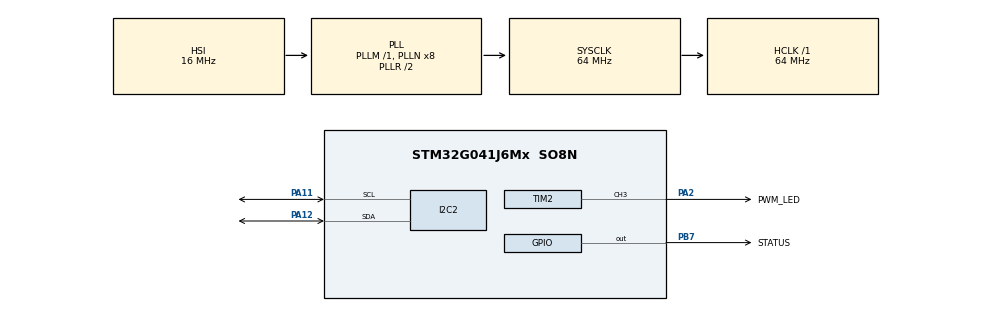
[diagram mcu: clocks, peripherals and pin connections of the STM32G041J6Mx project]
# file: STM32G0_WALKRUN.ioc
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I2C2.Timing=0x10707DBC
Mcu.Family=STM32G0
Mcu.Name=STM32G041J6Mx
Mcu.Package=SO8N
PA11\ [PA9].Mode=I2C
PA11\ [PA9].Signal=I2C2_SCL
PA12\ [PA10].Mode=I2C
PA12\ [PA10].Signal=I2C2_SDA
PA13.Mode=Serial_Wire
PA13.Signal=SYS_SWDIO
PA14-BOOT0.Mode=Serial_Wire
PA14-BOOT0.Signal=SYS_SWCLK
PA2.GPIO_Label=PWM_LED
PA2.Signal=S_TIM2_CH3
PB7.GPIO_Label=STATUS
PB7.Signal=GPIO_Output
ProjectManager.HeapSize=0x200
ProjectManager.StackSize=0x400
ProjectManager.TargetToolchain=STM32CubeIDE
RCC.ADCFreq_Value=64000000
RCC.AHBFreq_Value=64000000
RCC.CortexFreq_Value=64000000
RCC.EXTERNAL_CLOCK_VALUE=12288000
RCC.HCLKFreq_Value=64000000
RCC.HSE_VALUE=8000000
RCC.HSI_VALUE=16000000
RCC.LSE_VALUE=32768
RCC.SYSCLKFreq_VALUE=64000000
RCC.SYSCLKSource=RCC_SYSCLKSOURCE_PLLCLK
RCC.VCOOutputFreq_Value=128000000
SH.S_TIM2_CH3.0=TIM2_CH3,PWM Generation3 CH3
TIM2.AutoReloadPreload=TIM_AUTORELOAD_PRELOAD_ENABLE
TIM2.Channel-PWM\ Generation3\ CH3=TIM_CHANNEL_3
TIM2.Period=65535
board=custom

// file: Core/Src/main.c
/* USER CODE BEGIN Header */
/**
  ******************************************************************************
  * @file           : main.c
  * @brief          : Main program body
  ******************************************************************************
  * @attention
  *
  * <h2><center>&copy; Copyright (c) 2022 STMicroelectronics.
  * All rights reserved.</center></h2>
  *
  * This software component is licensed by ST under BSD 3-Clause license,
  * the "License"; You may not use this file except in compliance with the
  * License. You may obtain a copy of the License at:
  *                        opensource.org/licenses/BSD-3-Clause
  *
  ******************************************************************************
  */
/* USER CODE END Header */
#include "main.h"

/* USER CODE BEGIN Includes */
#include "TJ_MPU6050.h"

/* USER CODE END Includes */

I2C_HandleTypeDef hi2c2;

TIM_HandleTypeDef htim2;

void SystemClock_Config(void);
static void MX_GPIO_Init(void);
static void MX_I2C2_Init(void);
static void MX_TIM2_Init(void);

/* USER CODE BEGIN 0 */
RawData_Def AccelRaw, GyroRaw;
ScaledData_Def AccelScaled, GyroScaled, AccelCali;

//float SCALING_FACTOR_2g = 2000.0f/32768.0f;
//float SCALING_FACTOR_4g = 4000.0f/32768.0f;
float SCALING_FACTOR_8g = 8000.0f/32768.0f;
//float SCALING_FACTOR_16g = 2000.0f/32768.0f;

/* USER CODE END 0 */

int main(void)
{
  /* USER CODE BEGIN 1 */

	MPU_ConfigTypeDef MpuConfig;

	//float gyro_x;
	//float gyro_y;
	//float gyro_z;

	float accel_x;
	float accel_y;
	float accel_z;

	//int predictions = 0;

  /* USER CODE END 1 */

  /* MCU Configuration--------------------------------------------------------*/

  /* Reset of all peripherals, Initializes the Flash interface and the Systick. */
  HAL_Init();

  /* USER CODE BEGIN Init */

  MPU6050_Init(&hi2c2);
  //2. Configure Accel and Gyro parameters
  MpuConfig.Accel_Full_Scale = AFS_SEL_2g;
  MpuConfig.ClockSource = Internal_8MHz;
  MpuConfig.CONFIG_DLPF = DLPF_5_Hz;
  MpuConfig.Gyro_Full_Scale = FS_SEL_250;
  MpuConfig.Sleep_Mode_Bit = 0;  //1: sleep mode, 0: normal mode
  MPU6050_Config(&MpuConfig);

  //_Accel_Cali(63, 85, 14, 28, 833, 850); //Calibrate the accelerometer

  /* USER CODE END Init */

  /* Configure the system clock */
  SystemClock_Config();

  /* Initialize all configured peripherals */
  MX_GPIO_Init();
  MX_I2C2_Init();
  MX_TIM2_Init();
  /* USER CODE BEGIN 2 */

  HAL_GPIO_WritePin(STATUS_GPIO_Port, STATUS_Pin, GPIO_PIN_RESET);
  //HAL_GPIO_WritePin(STATUS2_GPIO_Port, STATUS2_Pin, GPIO_PIN_RESET);

  HAL_TIM_PWM_Start(&htim2, TIM_CHANNEL_3);
  int32_t CH3_DC = 0;

  /* USER CODE END 2 */

  /* Infinite loop */
  /* USER CODE BEGIN WHILE */
  while (1)
  {
		  while(CH3_DC < 65535)
		  {
			  HAL_GPIO_WritePin(STATUS_GPIO_Port, STATUS_Pin, GPIO_PIN_SET);
			  TIM2->CCR3 = CH3_DC;
			  CH3_DC += 250;
			  HAL_Delay(1);
		  }
		  while(CH3_DC > 0)
		  {
			  HAL_GPIO_WritePin(STATUS_GPIO_Port, STATUS_Pin, GPIO_PIN_RESET);
			  TIM2->CCR3 = CH3_DC;
			  CH3_DC -= 250;
			  HAL_Delay(1);
		  }

	  /*
	  //Scaled data

	  MPU6050_Get_Accel_Cali(&AccelCali);
	  //MPU6050_Get_Accel_Scale(&AccelScaled);
	  //MPU6050_Get_Gyro_Scale(&GyroScaled);

	  //gyro_x = GyroScaled.x;
      //gyro_y = GyroScaled.y;
	  //gyro_z = GyroScaled.z;

	  accel_x = AccelCali.x * SCALING_FACTOR_8g;
	  accel_y = AccelCali.y;
	  accel_z = AccelCali.z;

	  float input_data[3] = {accel_x, accel_y, accel_z};	//Scale down and subtract offset, accel_y/15 - 115, accel_z/15 - 75
	  //< accel_y <= 500

	  //pitch_angle = atanf(accel_y/accel_z);

	  if(accel_y == 500)
		  HAL_GPIO_WritePin(STATUS_GPIO_Port, STATUS_Pin, GPIO_PIN_SET);
	  else
		  HAL_GPIO_WritePin(STATUS_GPIO_Port, STATUS_Pin, GPIO_PIN_RESET);

	  if(accel_y < 200)
	  		  HAL_GPIO_WritePin(STATUS2_GPIO_Port, STATUS2_Pin, GPIO_PIN_SET);
	  	  else
	  		  HAL_GPIO_WritePin(STATUS2_GPIO_Port, STATUS2_Pin, GPIO_PIN_RESET);
	  */

	  //int32_t prediction = eml_net_predict(&runwalkNN_acc, input_data, 3);

	  /* Activate LED if enough running predictions where done within some time frame */
	  /*
	  if(prediction == 1)
	  {
		  predictions = predictions + 3;
		  if(predictions > 100)
			  predictions = 100;
	  }

	  else
	  {
		  predictions--;
		  if(predictions < 0)
			  predictions = 0;
	  }

	  if (predictions >= 50)
		  HAL_GPIO_WritePin(LD2_GPIO_Port, LD2_Pin, GPIO_PIN_SET);
	  else
		  HAL_GPIO_WritePin(LD2_GPIO_Port, LD2_Pin, GPIO_PIN_RESET);

	  bufflen = sprintf(buff, "a_x: %f, a_y: %f, a_z: %f, Prediction: %ld \r", input_data[0], input_data[1], input_data[2], prediction);
	  HAL_UART_Transmit(&huart2, (uint8_t *)buff, bufflen, 100);
	  */

	  //HAL_Delay(100);

    /* USER CODE END WHILE */

  }
}

void SystemClock_Config(void)
{
  RCC_OscInitTypeDef RCC_OscInitStruct = {0};
  RCC_ClkInitTypeDef RCC_ClkInitStruct = {0};

  /** Configure the main internal regulator output voltage
  */
  HAL_PWREx_ControlVoltageScaling(PWR_REGULATOR_VOLTAGE_SCALE1);
  /** Initializes the RCC Oscillators according to the specified parameters
  * in the RCC_OscInitTypeDef structure.
  */
  RCC_OscInitStruct.OscillatorType = RCC_OSCILLATORTYPE_HSI;
  RCC_OscInitStruct.HSIState = RCC_HSI_ON;
  RCC_OscInitStruct.HSIDiv = RCC_HSI_DIV1;
  RCC_OscInitStruct.HSICalibrationValue = RCC_HSICALIBRATION_DEFAULT;
  RCC_OscInitStruct.PLL.PLLState = RCC_PLL_ON;
  RCC_OscInitStruct.PLL.PLLSource = RCC_PLLSOURCE_HSI;
  RCC_OscInitStruct.PLL.PLLM = RCC_PLLM_DIV1;
  RCC_OscInitStruct.PLL.PLLN = 8;
  RCC_OscInitStruct.PLL.PLLP = RCC_PLLP_DIV2;
  RCC_OscInitStruct.PLL.PLLQ = RCC_PLLQ_DIV2;
  RCC_OscInitStruct.PLL.PLLR = RCC_PLLR_DIV2;
  if (HAL_RCC_OscConfig(&RCC_OscInitStruct) != HAL_OK)
  {
    Error_Handler();
  }
  /** Initializes the CPU, AHB and APB buses clocks
  */
  RCC_ClkInitStruct.ClockType = RCC_CLOCKTYPE_HCLK|RCC_CLOCKTYPE_SYSCLK
                              |RCC_CLOCKTYPE_PCLK1;
  RCC_ClkInitStruct.SYSCLKSource = RCC_SYSCLKSOURCE_PLLCLK;
  RCC_ClkInitStruct.AHBCLKDivider = RCC_SYSCLK_DIV1;
  RCC_ClkInitStruct.APB1CLKDivider = RCC_HCLK_DIV1;

  if (HAL_RCC_ClockConfig(&RCC_ClkInitStruct, FLASH_LATENCY_2) != HAL_OK)
  {
    Error_Handler();
  }
}

static void MX_I2C2_Init(void)
{

  hi2c2.Instance = I2C2;
  hi2c2.Init.Timing = 0x10707DBC;
  hi2c2.Init.OwnAddress1 = 0;
  hi2c2.Init.AddressingMode = I2C_ADDRESSINGMODE_7BIT;
  hi2c2.Init.DualAddressMode = I2C_DUALADDRESS_DISABLE;
  hi2c2.Init.OwnAddress2 = 0;
  hi2c2.Init.OwnAddress2Masks = I2C_OA2_NOMASK;
  hi2c2.Init.GeneralCallMode = I2C_GENERALCALL_DISABLE;
  hi2c2.Init.NoStretchMode = I2C_NOSTRETCH_DISABLE;
  if (HAL_I2C_Init(&hi2c2) != HAL_OK)
  {
    Error_Handler();
  }
  /** Configure Analogue filter
  */
  if (HAL_I2CEx_ConfigAnalogFilter(&hi2c2, I2C_ANALOGFILTER_ENABLE) != HAL_OK)
  {
    Error_Handler();
  }
  /** Configure Digital filter
  */
  if (HAL_I2CEx_ConfigDigitalFilter(&hi2c2, 0) != HAL_OK)
  {
    Error_Handler();
  }

}

static void MX_TIM2_Init(void)
{

  TIM_MasterConfigTypeDef sMasterConfig = {0};
  TIM_OC_InitTypeDef sConfigOC = {0};

  htim2.Instance = TIM2;
  htim2.Init.Prescaler = 0;
  htim2.Init.CounterMode = TIM_COUNTERMODE_UP;
  htim2.Init.Period = 65535;
  htim2.Init.ClockDivision = TIM_CLOCKDIVISION_DIV1;
  htim2.Init.AutoReloadPreload = TIM_AUTORELOAD_PRELOAD_ENABLE;
  if (HAL_TIM_PWM_Init(&htim2) != HAL_OK)
  {
    Error_Handler();
  }
  sMasterConfig.MasterOutputTrigger = TIM_TRGO_RESET;
  sMasterConfig.MasterSlaveMode = TIM_MASTERSLAVEMODE_DISABLE;
  if (HAL_TIMEx_MasterConfigSynchronization(&htim2, &sMasterConfig) != HAL_OK)
  {
    Error_Handler();
  }
  sConfigOC.OCMode = TIM_OCMODE_PWM1;
  sConfigOC.Pulse = 0;
  sConfigOC.OCPolarity = TIM_OCPOLARITY_HIGH;
  sConfigOC.OCFastMode = TIM_OCFAST_DISABLE;
  if (HAL_TIM_PWM_ConfigChannel(&htim2, &sConfigOC, TIM_CHANNEL_3) != HAL_OK)
  {
    Error_Handler();
  }
  HAL_TIM_MspPostInit(&htim2);

}

static void MX_GPIO_Init(void)
{
  GPIO_InitTypeDef GPIO_InitStruct = {0};

  /* GPIO Ports Clock Enable */
  __HAL_RCC_GPIOB_CLK_ENABLE();
  __HAL_RCC_GPIOA_CLK_ENABLE();

  /*Configure GPIO pin Output Level */
  HAL_GPIO_WritePin(STATUS_GPIO_Port, STATUS_Pin, GPIO_PIN_RESET);

  /*Configure GPIO pin : STATUS_Pin */
  GPIO_InitStruct.Pin = STATUS_Pin;
  GPIO_InitStruct.Mode = GPIO_MODE_OUTPUT_PP;
  GPIO_InitStruct.Pull = GPIO_NOPULL;
  GPIO_InitStruct.Speed = GPIO_SPEED_FREQ_LOW;
  HAL_GPIO_Init(STATUS_GPIO_Port, &GPIO_InitStruct);

}

void Error_Handler(void)
{
  __disable_irq();
  while (1)
  {
  }
}
